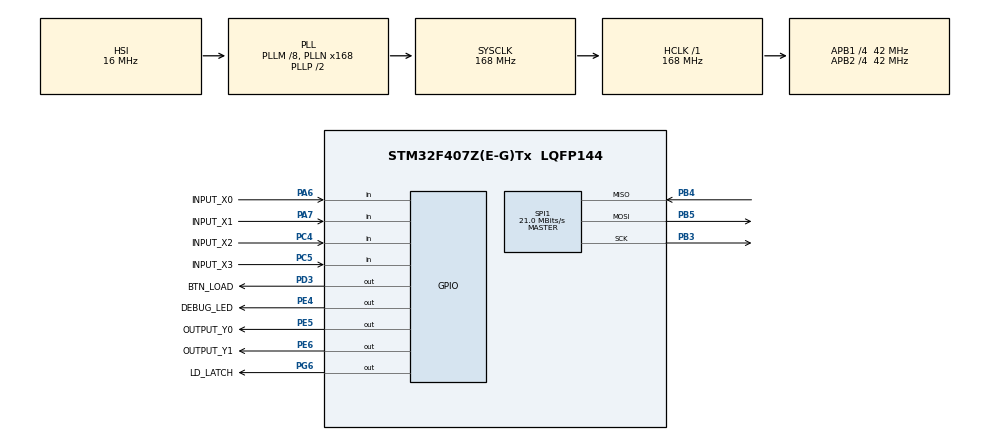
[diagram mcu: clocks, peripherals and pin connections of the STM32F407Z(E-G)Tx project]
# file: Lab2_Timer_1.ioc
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Mcu.Family=STM32F4
Mcu.Name=STM32F407Z(E-G)Tx
Mcu.Package=LQFP144
NVIC.PriorityGroup=NVIC_PRIORITYGROUP_4
NVIC.TIM2_IRQn=true\:0\:0\:false\:false\:true\:true\:true\:true
NVIC.TIM3_IRQn=true\:0\:0\:false\:false\:true\:true\:true\:true
NVIC.TIM4_IRQn=true\:0\:0\:false\:false\:true\:true\:true\:true
PA13.Mode=Serial_Wire
PA13.Signal=SYS_JTMS-SWDIO
PA14.Mode=Serial_Wire
PA14.Signal=SYS_JTCK-SWCLK
PA6.GPIO_Label=INPUT_X0
PA6.Signal=GPIO_Input
PA7.GPIO_Label=INPUT_X1
PA7.Signal=GPIO_Input
PB3.Mode=Full_Duplex_Master
PB3.Signal=SPI1_SCK
PB4.Mode=Full_Duplex_Master
PB4.Signal=SPI1_MISO
PB5.Mode=Full_Duplex_Master
PB5.Signal=SPI1_MOSI
PC4.GPIO_Label=INPUT_X2
PC4.Signal=GPIO_Input
PC5.GPIO_Label=INPUT_X3
PC5.Signal=GPIO_Input
PD3.GPIO_Label=BTN_LOAD
PD3.Signal=GPIO_Output
PE4.GPIO_Label=DEBUG_LED
PE4.Signal=GPIO_Output
PE5.GPIO_Label=OUTPUT_Y0
PE5.Signal=GPIO_Output
PE6.GPIO_Label=OUTPUT_Y1
PE6.Signal=GPIO_Output
PG6.GPIO_Label=LD_LATCH
PG6.Signal=GPIO_Output
PH0-OSC_IN.Mode=HSE-External-Oscillator
PH0-OSC_IN.Signal=RCC_OSC_IN
PH1-OSC_OUT.Mode=HSE-External-Oscillator
PH1-OSC_OUT.Signal=RCC_OSC_OUT
ProjectManager.HeapSize=0x200
ProjectManager.StackSize=0x400
ProjectManager.TargetToolchain=STM32CubeIDE
RCC.48MHZClocksFreq_Value=84000000
RCC.AHBFreq_Value=168000000
RCC.APB1CLKDivider=RCC_HCLK_DIV4
RCC.APB1Freq_Value=42000000
RCC.APB1TimFreq_Value=84000000
RCC.APB2CLKDivider=RCC_HCLK_DIV4
RCC.APB2Freq_Value=42000000
RCC.APB2TimFreq_Value=84000000
RCC.CortexFreq_Value=168000000
RCC.HCLKFreq_Value=168000000
RCC.HSE_VALUE=8000000
RCC.HSI_VALUE=16000000
RCC.LSE_VALUE=32768
RCC.PLLM=8
RCC.PLLN=168
RCC.SYSCLKFreq_VALUE=168000000
RCC.SYSCLKSource=RCC_SYSCLKSOURCE_PLLCLK
RCC.VCOOutputFreq_Value=336000000
SPI1.CalculateBaudRate=21.0 MBits/s
SPI1.Direction=SPI_DIRECTION_2LINES
SPI1.Mode=SPI_MODE_MASTER
SPI1.VirtualType=VM_MASTER
TIM2.Period=100-1
TIM2.Prescaler=840-1
TIM3.Period=100-1
TIM3.Prescaler=840-1
TIM4.Period=100-1
TIM4.Prescaler=840-1
VP_TIM2_VS_ClockSourceINT.Mode=Internal
VP_TIM3_VS_ClockSourceINT.Mode=Internal
VP_TIM4_VS_ClockSourceINT.Mode=Internal
board=custom

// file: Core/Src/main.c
/* USER CODE BEGIN Header */
/**
 ******************************************************************************
 * @file           : main.c
 * @brief          : Main program body
 ******************************************************************************
 * @attention
 *
 * <h2><center>&copy; Copyright (c) 2023 STMicroelectronics.
 * All rights reserved.</center></h2>
 *
 * This software component is licensed by ST under BSD 3-Clause license,
 * the "License"; You may not use this file except in compliance with the
 * License. You may obtain a copy of the License at:
 *                        opensource.org/licenses/BSD-3-Clause
 *
 ******************************************************************************
 */
/* USER CODE END Header */
#include "main.h"
#include "spi.h"
#include "tim.h"
#include "gpio.h"

/* USER CODE BEGIN Includes */
#include "led_7seg.h"
#include "software_timer.h"
/* USER CODE END Includes */

void SystemClock_Config(void);
/* USER CODE BEGIN PFP */
void init_system(void);

unsigned char statusLed_Debug = 0;
void Led_Debug();
unsigned char statusLed_Y0 = 0;
void Led_Y0();
unsigned char statusLed_Y1 = 0;
void Led_Y1();
/* USER CODE END PFP */

int main(void) {

	/* MCU Configuration--------------------------------------------------------*/

	/* Reset of all peripherals, Initializes the Flash interface and the Systick. */
	HAL_Init();

	/* Configure the system clock */
	SystemClock_Config();

	/* Initialize all configured peripherals */
	MX_GPIO_Init();
	MX_TIM2_Init();
	MX_SPI1_Init();
	MX_TIM3_Init();
	MX_TIM4_Init();
	/* USER CODE BEGIN 2 */
	init_system();

	led_7seg_set_digit(1, 0, 0);
	led_7seg_set_digit(2, 1, 0);
	led_7seg_set_digit(3, 2, 0);
	led_7seg_set_digit(4, 3, 0);
	/* USER CODE END 2 */

	/* Infinite loop */
	/* USER CODE BEGIN WHILE */
	while (1) {
		if (timer2_flag == 1) {
			timer2_flag = 0;

			Led_Y0();
			Led_Y1();
			Led_Debug();

			/*
			 * This function should be called every 1ms.
			 *
			 * In every template, it is called in Timer 4
			 * (function HAL_TIM_PeriodElapsedCallback in software_timer).
			 *
			 * However, I have just commented it and put it here (to be call every 50 ms)
			 * to show that if the duration is not short enough,
			 * the led 7 segment will not work correctly.
			 */
			led_7seg_display();
		}
		/* USER CODE END WHILE */

	}
}

void SystemClock_Config(void) {
	RCC_OscInitTypeDef RCC_OscInitStruct = { 0 };
	RCC_ClkInitTypeDef RCC_ClkInitStruct = { 0 };

	/** Configure the main internal regulator output voltage
	 */
	__HAL_RCC_PWR_CLK_ENABLE();
	__HAL_PWR_VOLTAGESCALING_CONFIG(PWR_REGULATOR_VOLTAGE_SCALE1);

	/** Initializes the RCC Oscillators according to the specified parameters
	 * in the RCC_OscInitTypeDef structure.
	 */
	RCC_OscInitStruct.OscillatorType = RCC_OSCILLATORTYPE_HSI;
	RCC_OscInitStruct.HSIState = RCC_HSI_ON;
	RCC_OscInitStruct.HSICalibrationValue = RCC_HSICALIBRATION_DEFAULT;
	RCC_OscInitStruct.PLL.PLLState = RCC_PLL_ON;
	RCC_OscInitStruct.PLL.PLLSource = RCC_PLLSOURCE_HSI;
	RCC_OscInitStruct.PLL.PLLM = 8;
	RCC_OscInitStruct.PLL.PLLN = 168;
	RCC_OscInitStruct.PLL.PLLP = RCC_PLLP_DIV2;
	RCC_OscInitStruct.PLL.PLLQ = 4;
	if (HAL_RCC_OscConfig(&RCC_OscInitStruct) != HAL_OK) {
		Error_Handler();
	}

	/** Initializes the CPU, AHB and APB buses clocks
	 */
	RCC_ClkInitStruct.ClockType = RCC_CLOCKTYPE_HCLK | RCC_CLOCKTYPE_SYSCLK
			| RCC_CLOCKTYPE_PCLK1 | RCC_CLOCKTYPE_PCLK2;
	RCC_ClkInitStruct.SYSCLKSource = RCC_SYSCLKSOURCE_PLLCLK;
	RCC_ClkInitStruct.AHBCLKDivider = RCC_SYSCLK_DIV1;
	RCC_ClkInitStruct.APB1CLKDivider = RCC_HCLK_DIV4;
	RCC_ClkInitStruct.APB2CLKDivider = RCC_HCLK_DIV4;

	if (HAL_RCC_ClockConfig(&RCC_ClkInitStruct, FLASH_LATENCY_5) != HAL_OK) {
		Error_Handler();
	}
}

/* USER CODE BEGIN 4 */
void init_system(void) {
	timer2_init();
	timer2_set(50);

	led_7seg_init();
}

void Led_Debug() {
	statusLed_Debug = (statusLed_Debug + 1) % 20;					// Period = 50 (ms) * 20 = 1000 (ms)
	if (statusLed_Debug == 0)										// Turn on in (10 / 20) * 1000 = 500 (ms)
		HAL_GPIO_TogglePin(DEBUG_LED_GPIO_Port, DEBUG_LED_Pin);
}

void Led_Y0() {
	statusLed_Y0 = (statusLed_Y0 + 1) % 20;							// Period = 50 (ms) * 20 = 1000 (ms)
	if (statusLed_Y0 < 10)
		HAL_GPIO_WritePin(OUTPUT_Y0_GPIO_Port, OUTPUT_Y0_Pin, 1);	// Turn on in (10 / 20) * 1000 = 500 (ms)
	else
		HAL_GPIO_WritePin(OUTPUT_Y0_GPIO_Port, OUTPUT_Y0_Pin, 0);	// Turn off in 1000 - 500 = 500 (ms)
}

void Led_Y1() {
	statusLed_Y1 = (statusLed_Y1 + 1) % 40;							// Period = 50 (ms) * 40 = 2000 (ms)
	if (statusLed_Y1 < 10)
		HAL_GPIO_WritePin(OUTPUT_Y1_GPIO_Port, OUTPUT_Y1_Pin, 1);	// Turn on in (10 / 40) * 2000 = 500 (ms)
	else
		HAL_GPIO_WritePin(OUTPUT_Y1_GPIO_Port, OUTPUT_Y1_Pin, 0);	// Turn off in 2000 - 500 = 1500 (ms)
}
/* USER CODE END 4 */

void Error_Handler(void) {
	__disable_irq();
	while (1) {
	}
}
